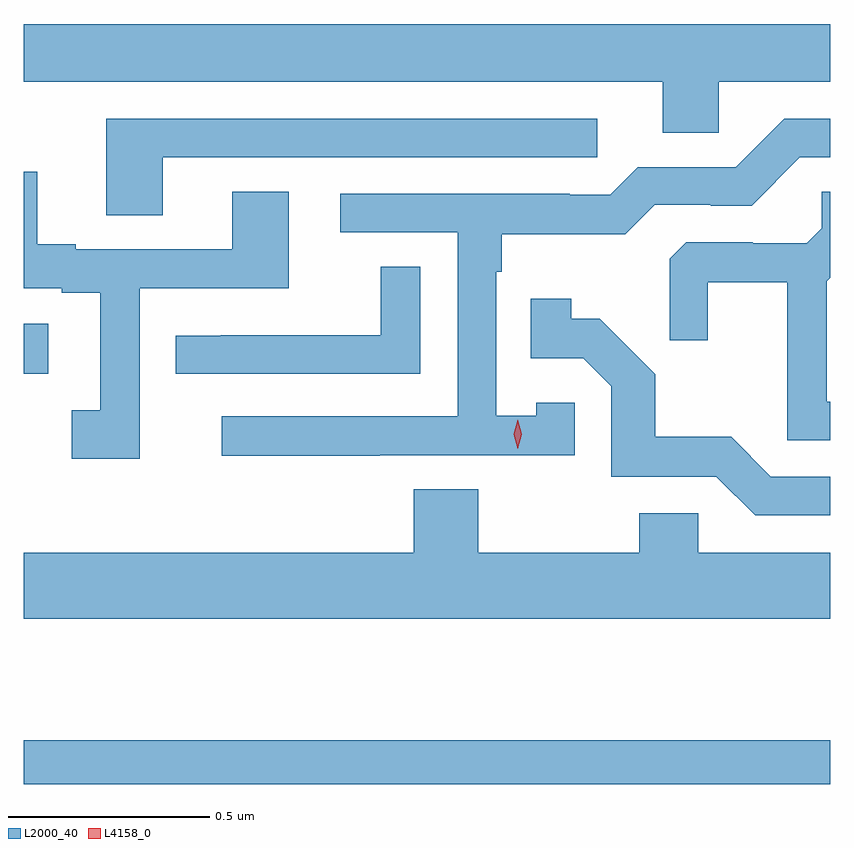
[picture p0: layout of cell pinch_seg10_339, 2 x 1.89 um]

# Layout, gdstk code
import gdstk
lib = gdstk.Library(unit=1e-6, precision=1e-09)
def R(c, l, rs):  # rectangles x0, y0, x1, y1
    for r in rs: c.add(gdstk.rectangle(r[:2], r[2:], *l))
def P(c, l, *ps):  # polygons
    for p in ps: c.add(gdstk.Polygon(p, *l))
L2000_40 = (2000, 40)
L4158_0 = (4158, 0)

pinch_seg10_339 = lib.new_cell('pinch_seg10_339')
R(pinch_seg10_339, L2000_40, [(501.496,1263.942,503.496,1264.051), (501.496,1264.959,501.556,1265.083)])
P(pinch_seg10_339, L2000_40, [(503.22,1265.684),(503.496,1265.684),(503.496,1265.827),(501.496,1265.827),(501.496,1265.684),(503.081,1265.684),(503.081,1265.557),(503.22,1265.557)],
  [(501.841,1265.496),(502.918,1265.496),(502.918,1265.592),(501.701,1265.592),(501.701,1265.353),(501.841,1265.353)],
  [(502.379,1264.758),(502.863,1264.758),(502.863,1264.887),(502.767,1264.887),(502.767,1264.855),(502.668,1264.855),(502.668,1265.213),(502.681,1265.213),(502.681,1265.306),(502.988,1265.306),(503.061,1265.379),(503.2,1265.379),(503.2,1265.376),(503.301,1265.376),(503.421,1265.496),(503.496,1265.496),(503.496,1265.592),(503.382,1265.592),(503.262,1265.472),(503.019,1265.472),(502.95,1265.403),(502.85,1265.403),(502.85,1265.406),(502.281,1265.406),(502.281,1265.31),(502.572,1265.31),(502.572,1264.854),(501.987,1264.854),(501.987,1264.756),(502.379,1264.756)],
  [(501.783,1265.172),(502.153,1265.172),(502.153,1265.411),(502.013,1265.411),(502.013,1265.268),(501.625,1265.268),(501.625,1265.281),(501.529,1265.281),(501.529,1265.461),(501.496,1265.461),(501.496,1265.172),(501.59,1265.172),(501.59,1265.16),(501.686,1265.16),(501.686,1264.869),(501.615,1264.869),(501.615,1264.749),(501.783,1264.749)],
  [(503.496,1264.89),(503.487,1264.89),(503.487,1265.189),(503.496,1265.198),(503.496,1265.411),(503.475,1265.411),(503.475,1265.32),(503.438,1265.283),(503.304,1265.283),(503.304,1265.286),(503.139,1265.286),(503.098,1265.245),(503.098,1265.043),(503.192,1265.043),(503.192,1265.186),(503.39,1265.186),(503.39,1264.794),(503.496,1264.794)],
  [(502.479,1265.225),(502.381,1265.225),(502.381,1265.055),(501.985,1265.055),(501.985,1265.054),(501.873,1265.054),(501.873,1264.959),(502.479,1264.959)],
  [(503.496,1264.704),(503.349,1264.704),(503.251,1264.803),(503.062,1264.803),(503.062,1264.958),(502.924,1265.096),(502.854,1265.096),(502.854,1265.146),(502.753,1265.146),(502.753,1264.998),(502.884,1264.998),(502.953,1264.929),(502.953,1264.704),(503.214,1264.704),(503.31,1264.608),(503.496,1264.608)],
  [(503.496,1264.516),(503.169,1264.516),(503.169,1264.614),(503.023,1264.614),(503.023,1264.516),(502.623,1264.516),(502.623,1264.673),(502.463,1264.673),(502.463,1264.516),(501.496,1264.516),(501.496,1264.352),(503.496,1264.352)])
P(pinch_seg10_339, L4158_0, [(502.721,1264.773),(502.721,1264.773),(502.711,1264.809),(502.721,1264.845),(502.721,1264.845),(502.721,1264.845),(502.731,1264.809),(502.721,1264.773)])

lib.write_gds('pinch_seg10_339.gds')
